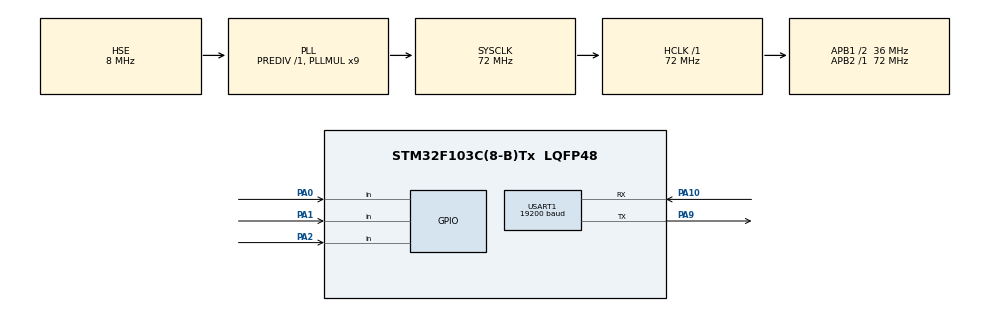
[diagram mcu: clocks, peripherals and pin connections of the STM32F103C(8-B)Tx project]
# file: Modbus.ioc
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Mcu.Family=STM32F1
Mcu.Name=STM32F103C(8-B)Tx
Mcu.Package=LQFP48
NVIC.PriorityGroup=NVIC_PRIORITYGROUP_4
NVIC.TIM3_IRQn=true\:0\:0\:false\:false\:true\:true\:true\:true
NVIC.USART1_IRQn=true\:0\:0\:false\:false\:true\:true\:true\:true
PA0-WKUP.Signal=GPIO_Input
PA1.GPIO_PuPd=GPIO_PULLDOWN
PA1.Signal=GPIO_Input
PA10.Mode=Asynchronous
PA10.Signal=USART1_RX
PA13.Mode=Serial_Wire
PA13.Signal=SYS_JTMS-SWDIO
PA14.Mode=Serial_Wire
PA14.Signal=SYS_JTCK-SWCLK
PA2.GPIO_PuPd=GPIO_PULLUP
PA2.Signal=GPIO_Input
PA9.Mode=Asynchronous
PA9.Signal=USART1_TX
PD0-OSC_IN.Mode=HSE-External-Oscillator
PD0-OSC_IN.Signal=RCC_OSC_IN
PD1-OSC_OUT.Mode=HSE-External-Oscillator
PD1-OSC_OUT.Signal=RCC_OSC_OUT
ProjectManager.HeapSize=0x200
ProjectManager.StackSize=0x400
ProjectManager.TargetToolchain=STM32CubeIDE
RCC.AHBFreq_Value=72000000
RCC.APB1CLKDivider=RCC_HCLK_DIV2
RCC.APB1Freq_Value=36000000
RCC.APB1TimFreq_Value=72000000
RCC.APB2Freq_Value=72000000
RCC.APB2TimFreq_Value=72000000
RCC.HCLKFreq_Value=72000000
RCC.PLLMUL=RCC_PLL_MUL9
RCC.PLLSourceVirtual=RCC_PLLSOURCE_HSE
RCC.SYSCLKFreq_VALUE=72000000
RCC.SYSCLKSource=RCC_SYSCLKSOURCE_PLLCLK
RCC.USBFreq_Value=72000000
TIM3.Period=50
TIM3.Prescaler=71
USART1.BaudRate=19200
USART1.VirtualMode=VM_ASYNC
VP_TIM3_VS_ClockSourceINT.Mode=Internal
board=custom

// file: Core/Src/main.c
/* USER CODE BEGIN Header */
/**
  ******************************************************************************
  * @file           : main.c
  * @brief          : Main program body
  ******************************************************************************
  * @attention
  *
  * Copyright (c) 2024 STMicroelectronics.
  * All rights reserved.
  *
  * This software is licensed under terms that can be found in the LICENSE file
  * in the root directory of this software component.
  * If no LICENSE file comes with this software, it is provided AS-IS.
  *
  ******************************************************************************
  */
/* USER CODE END Header */
#include "main.h"

/* USER CODE BEGIN Includes */
#include "mb.h"
#include "mbport.h"
#include "mt_port.h"
#include "stm32f103xb.h"
/* USER CODE END Includes */

/* USER CODE BEGIN PD */
#define REG_INPUT_START 1
#define REG_INPUT_NREGS 8
/* USER CODE END PD */

 TIM_HandleTypeDef htim3;

UART_HandleTypeDef huart1;

/* USER CODE BEGIN PV */

static USHORT usRegInputStart = REG_INPUT_START;
static USHORT usRegInputBuf[REG_INPUT_NREGS] = {'M', 'o', 'd', 'b', 'u', 's', 0, 0};
/* USER CODE END PV */

void SystemClock_Config(void);
static void MX_GPIO_Init(void);
static void MX_TIM3_Init(void);
static void MX_USART1_UART_Init(void);

int main(void)
{

  /* MCU Configuration--------------------------------------------------------*/

  /* Reset of all peripherals, Initializes the Flash interface and the Systick. */
  HAL_Init();

  /* Configure the system clock */
  SystemClock_Config();

  /* Initialize all configured peripherals */
  MX_GPIO_Init();
  MX_TIM3_Init();
  MX_USART1_UART_Init();
  /* USER CODE BEGIN 2 */

  MT_PORT_SetTimerModule(&htim3);
    MT_PORT_SetUartModule(&huart1);
    eMBErrorCode eStatus;
    eStatus = eMBInit(MB_RTU, 0x0A, 0, 19200, MB_PAR_NONE);
    eStatus = eMBEnable();
    if (eStatus != MB_ENOERR)
    {
      // Error handling
    }

  /* USER CODE END 2 */

  /* Infinite loop */
  while (1)
  {

    /* USER CODE BEGIN 3 */
	  eMBPoll();
	  	  //usRegInputBuf[REG_INPUT_NREGS - 3] =  HAL_GPIO_ReadPin(GPIOA, GPIO_PIN_1);
	      usRegInputBuf[REG_INPUT_NREGS - 2] =  HAL_GetTick() / 1000;
	      usRegInputBuf[REG_INPUT_NREGS - 1] =  HAL_GetTick();

  }

  /* USER CODE END 3 */
}

void SystemClock_Config(void)
{
  RCC_OscInitTypeDef RCC_OscInitStruct = {0};
  RCC_ClkInitTypeDef RCC_ClkInitStruct = {0};

  /** Initializes the RCC Oscillators according to the specified parameters
  * in the RCC_OscInitTypeDef structure.
  */
  RCC_OscInitStruct.OscillatorType = RCC_OSCILLATORTYPE_HSE;
  RCC_OscInitStruct.HSEState = RCC_HSE_ON;
  RCC_OscInitStruct.HSEPredivValue = RCC_HSE_PREDIV_DIV1;
  RCC_OscInitStruct.HSIState = RCC_HSI_ON;
  RCC_OscInitStruct.PLL.PLLState = RCC_PLL_ON;
  RCC_OscInitStruct.PLL.PLLSource = RCC_PLLSOURCE_HSE;
  RCC_OscInitStruct.PLL.PLLMUL = RCC_PLL_MUL9;
  if (HAL_RCC_OscConfig(&RCC_OscInitStruct) != HAL_OK)
  {
    Error_Handler();
  }

  /** Initializes the CPU, AHB and APB buses clocks
  */
  RCC_ClkInitStruct.ClockType = RCC_CLOCKTYPE_HCLK|RCC_CLOCKTYPE_SYSCLK
                              |RCC_CLOCKTYPE_PCLK1|RCC_CLOCKTYPE_PCLK2;
  RCC_ClkInitStruct.SYSCLKSource = RCC_SYSCLKSOURCE_PLLCLK;
  RCC_ClkInitStruct.AHBCLKDivider = RCC_SYSCLK_DIV1;
  RCC_ClkInitStruct.APB1CLKDivider = RCC_HCLK_DIV2;
  RCC_ClkInitStruct.APB2CLKDivider = RCC_HCLK_DIV1;

  if (HAL_RCC_ClockConfig(&RCC_ClkInitStruct, FLASH_LATENCY_2) != HAL_OK)
  {
    Error_Handler();
  }
}

static void MX_TIM3_Init(void)
{

  TIM_ClockConfigTypeDef sClockSourceConfig = {0};
  TIM_MasterConfigTypeDef sMasterConfig = {0};

  htim3.Instance = TIM3;
  htim3.Init.Prescaler = 71;
  htim3.Init.CounterMode = TIM_COUNTERMODE_UP;
  htim3.Init.Period = 50;
  htim3.Init.ClockDivision = TIM_CLOCKDIVISION_DIV1;
  htim3.Init.AutoReloadPreload = TIM_AUTORELOAD_PRELOAD_DISABLE;
  if (HAL_TIM_Base_Init(&htim3) != HAL_OK)
  {
    Error_Handler();
  }
  sClockSourceConfig.ClockSource = TIM_CLOCKSOURCE_INTERNAL;
  if (HAL_TIM_ConfigClockSource(&htim3, &sClockSourceConfig) != HAL_OK)
  {
    Error_Handler();
  }
  sMasterConfig.MasterOutputTrigger = TIM_TRGO_RESET;
  sMasterConfig.MasterSlaveMode = TIM_MASTERSLAVEMODE_DISABLE;
  if (HAL_TIMEx_MasterConfigSynchronization(&htim3, &sMasterConfig) != HAL_OK)
  {
    Error_Handler();
  }

}

static void MX_USART1_UART_Init(void)
{

  huart1.Instance = USART1;
  huart1.Init.BaudRate = 19200;
  huart1.Init.WordLength = UART_WORDLENGTH_8B;
  huart1.Init.StopBits = UART_STOPBITS_1;
  huart1.Init.Parity = UART_PARITY_NONE;
  huart1.Init.Mode = UART_MODE_TX_RX;
  huart1.Init.HwFlowCtl = UART_HWCONTROL_NONE;
  huart1.Init.OverSampling = UART_OVERSAMPLING_16;
  if (HAL_UART_Init(&huart1) != HAL_OK)
  {
    Error_Handler();
  }

}

static void MX_GPIO_Init(void)
{
  GPIO_InitTypeDef GPIO_InitStruct = {0};

  /* GPIO Ports Clock Enable */
  __HAL_RCC_GPIOD_CLK_ENABLE();
  __HAL_RCC_GPIOA_CLK_ENABLE();

  /*Configure GPIO pin : PA0 */
  GPIO_InitStruct.Pin = GPIO_PIN_0;
  GPIO_InitStruct.Mode = GPIO_MODE_INPUT;
  GPIO_InitStruct.Pull = GPIO_NOPULL;
  HAL_GPIO_Init(GPIOA, &GPIO_InitStruct);

  /*Configure GPIO pin : PA1 */
  GPIO_InitStruct.Pin = GPIO_PIN_1;
  GPIO_InitStruct.Mode = GPIO_MODE_INPUT;
  GPIO_InitStruct.Pull = GPIO_PULLDOWN;
  HAL_GPIO_Init(GPIOA, &GPIO_InitStruct);

  /*Configure GPIO pin : PA2 */
  GPIO_InitStruct.Pin = GPIO_PIN_2;
  GPIO_InitStruct.Mode = GPIO_MODE_INPUT;
  GPIO_InitStruct.Pull = GPIO_PULLUP;
  HAL_GPIO_Init(GPIOA, &GPIO_InitStruct);

}

/* USER CODE BEGIN 4 */
/*----------------------------------------------------------------------------*/
eMBErrorCode eMBRegInputCB(UCHAR * pucRegBuffer, USHORT usAddress, USHORT usNRegs)
{
  eMBErrorCode eStatus = MB_ENOERR;
  int iRegIndex;
  if ((usAddress >= REG_INPUT_START) &&
      (usAddress + usNRegs <= REG_INPUT_START + REG_INPUT_NREGS))
  {
    iRegIndex = (int)(usAddress - usRegInputStart);
    while(usNRegs > 0)
    {
        *pucRegBuffer++ = (unsigned char)(usRegInputBuf[iRegIndex] >> 8);
        *pucRegBuffer++ = (unsigned char)(usRegInputBuf[iRegIndex] & 0xFF);
        iRegIndex++;
        usNRegs--;
    }
  }
  else
  {
    eStatus = MB_ENOREG;
  }
  return eStatus;
}
/*----------------------------------------------------------------------------*/
eMBErrorCode eMBRegHoldingCB(UCHAR * pucRegBuffer, USHORT usAddress, USHORT usNRegs,
                             eMBRegisterMode eMode)
{
  return MB_ENOREG;
}
/*----------------------------------------------------------------------------*/
eMBErrorCode eMBRegCoilsCB(UCHAR * pucRegBuffer, USHORT usAddress, USHORT usNCoils,
                           eMBRegisterMode eMode)
{
  return MB_ENOREG;
}
/*----------------------------------------------------------------------------*/
eMBErrorCode eMBRegDiscreteCB(UCHAR * pucRegBuffer, USHORT usAddress, USHORT usNDiscrete)
{
  return MB_ENOREG;
}
/*----------------------------------------------------------------------------*/
/* USER CODE END 4 */

void Error_Handler(void)
{
  __disable_irq();
  while (1)
  {
  }
}
